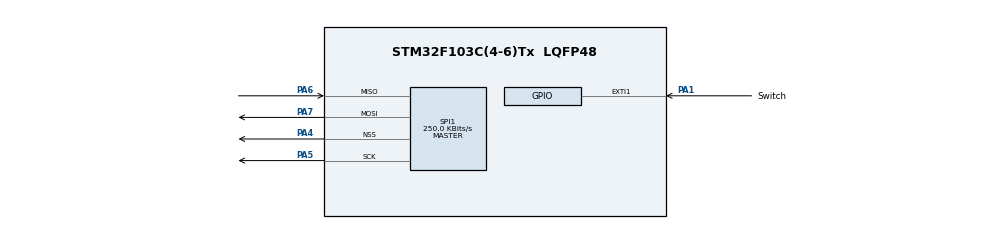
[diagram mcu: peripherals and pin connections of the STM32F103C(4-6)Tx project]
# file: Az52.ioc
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Mcu.Family=STM32F1
Mcu.Name=STM32F103C(4-6)Tx
Mcu.Package=LQFP48
NVIC.EXTI1_IRQn=true\:0\:0\:false\:false\:true\:true\:true
NVIC.PriorityGroup=NVIC_PRIORITYGROUP_4
NVIC.TIM1_UP_IRQn=true\:0\:0\:false\:false\:true\:true\:true
PA1.GPIO_Label=Switch
PA1.Signal=GPXTI1
PA4.Mode=NSS_Signal_Hard_Output
PA4.Signal=SPI1_NSS
PA5.Mode=Full_Duplex_Master
PA5.Signal=SPI1_SCK
PA6.Mode=Full_Duplex_Master
PA6.Signal=SPI1_MISO
PA7.Mode=Full_Duplex_Master
PA7.Signal=SPI1_MOSI
ProjectManager.HeapSize=0x200
ProjectManager.StackSize=0x400
ProjectManager.TargetToolchain=MDK-ARM V5.27
RCC.APB1Freq_Value=8000000
RCC.APB2Freq_Value=8000000
SPI1.BaudRatePrescaler=SPI_BAUDRATEPRESCALER_32
SPI1.CalculateBaudRate=250.0 KBits/s
SPI1.DataSize=SPI_DATASIZE_16BIT
SPI1.Direction=SPI_DIRECTION_2LINES
SPI1.Mode=SPI_MODE_MASTER
SPI1.VirtualNSS=VM_NSSHARD
SPI1.VirtualType=VM_MASTER
TIM1.Period=10
TIM1.Prescaler=7999
VP_SYS_VS_ND.Mode=No_Debug
VP_TIM1_VS_ClockSourceINT.Mode=Internal
board=custom

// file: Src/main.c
/* USER CODE BEGIN Header */
/**
  ******************************************************************************
  * @file           : main.c
  * @brief          : Main program body
  ******************************************************************************
  * @attention
  *
  * <h2><center>&copy; Copyright (c) 2020 STMicroelectronics.
  * All rights reserved.</center></h2>
  *
  * This software component is licensed by ST under BSD 3-Clause license,
  * the "License"; You may not use this file except in compliance with the
  * License. You may obtain a copy of the License at:
  *                        opensource.org/licenses/BSD-3-Clause
  *
  ******************************************************************************
  */
/* USER CODE END Header */

#include "main.h"
#include "spi.h"
#include "tim.h"
#include "gpio.h"

const int N = 50;
uint16_t SINE_WAVE[N] =  {2047, 2304, 2556, 2801, 3033, 3250, 3448, 3624, 3775,
	3899, 3994, 4058, 4090, 4090, 4058, 3994, 3899, 3775, 3624, 3448, 3250, 3033,
	2801, 2556, 2304, 2047, 1790, 1538, 1293, 1061, 844, 646, 470, 319, 195, 100,
  36, 4, 4, 36, 100, 195, 319, 470, 646, 844, 1061, 1293, 1538, 1790};
/* USER CODE BEGIN PV */
int index_sine=0;
uint8_t Tx_buffer[2];

/* USER CODE END PV */

void SystemClock_Config(void);

int main(void)
{

  /* MCU Configuration--------------------------------------------------------*/

  /* Reset of all peripherals, Initializes the Flash interface and the Systick. */
  HAL_Init();

  /* Configure the system clock */
  SystemClock_Config();

  /* Initialize all configured peripherals */
  MX_GPIO_Init();
  MX_SPI1_Init();
  MX_TIM1_Init();
  /* USER CODE BEGIN 2 */
	HAL_TIM_Base_Start_IT(&htim1); //Timer clock is set to 1KHz.

	// we need to find the switch's intial condition before
	// if the swich is connected the we want 1Hz sine wave otherwise 2Hz.
	if(HAL_GPIO_ReadPin(Switch_GPIO_Port,Switch_Pin) == 1)
	{
		__HAL_TIM_SET_AUTORELOAD(&htim1,20);
	}
		else
	{
			__HAL_TIM_SET_AUTORELOAD(&htim1,10);
	}

  /* USER CODE END 2 */

  /* Infinite loop */
  /* USER CODE BEGIN WHILE */
  while (1)
  {
		//we do the rest using interupts
    /* USER CODE END WHILE */

  }
}

void SystemClock_Config(void)
{
  RCC_OscInitTypeDef RCC_OscInitStruct = {0};
  RCC_ClkInitTypeDef RCC_ClkInitStruct = {0};

  /** Initializes the CPU, AHB and APB busses clocks
  */
  RCC_OscInitStruct.OscillatorType = RCC_OSCILLATORTYPE_HSI;
  RCC_OscInitStruct.HSIState = RCC_HSI_ON;
  RCC_OscInitStruct.HSICalibrationValue = RCC_HSICALIBRATION_DEFAULT;
  RCC_OscInitStruct.PLL.PLLState = RCC_PLL_NONE;
  if (HAL_RCC_OscConfig(&RCC_OscInitStruct) != HAL_OK)
  {
    Error_Handler();
  }
  /** Initializes the CPU, AHB and APB busses clocks
  */
  RCC_ClkInitStruct.ClockType = RCC_CLOCKTYPE_HCLK|RCC_CLOCKTYPE_SYSCLK
                              |RCC_CLOCKTYPE_PCLK1|RCC_CLOCKTYPE_PCLK2;
  RCC_ClkInitStruct.SYSCLKSource = RCC_SYSCLKSOURCE_HSI;
  RCC_ClkInitStruct.AHBCLKDivider = RCC_SYSCLK_DIV1;
  RCC_ClkInitStruct.APB1CLKDivider = RCC_HCLK_DIV1;
  RCC_ClkInitStruct.APB2CLKDivider = RCC_HCLK_DIV1;

  if (HAL_RCC_ClockConfig(&RCC_ClkInitStruct, FLASH_LATENCY_0) != HAL_OK)
  {
    Error_Handler();
  }
}

/* USER CODE BEGIN 4 */

void HAL_GPIO_EXTI_Callback(uint16_t GPIO_Pin)
{
	// if the swich is connected the we want 1Hz sine wave otherwise 2Hz.
	if(HAL_GPIO_ReadPin(Switch_GPIO_Port,Switch_Pin) == 1)
	{
		__HAL_TIM_SET_AUTORELOAD(&htim1,20);
	}
		else
	{
			__HAL_TIM_SET_AUTORELOAD(&htim1,10);
	}

}
void HAL_TIM_PeriodElapsedCallback(TIM_HandleTypeDef *htim)
{
	//preparing data to send it
	Tx_buffer[0] = SINE_WAVE[index_sine] & 0xFF;
	Tx_buffer[1] = 0x70 | (SINE_WAVE[index_sine]>>8);
	HAL_SPI_Transmit(&hspi1,Tx_buffer,1,100);// send data
	index_sine=index_sine+1;
	//we need to loop on the given data
	if(index_sine == N)
		index_sine = 0;
}

/* USER CODE END 4 */

void Error_Handler(void)
{
}

/************************ (C) COPYRIGHT STMicroelectronics *****END OF FILE****/
